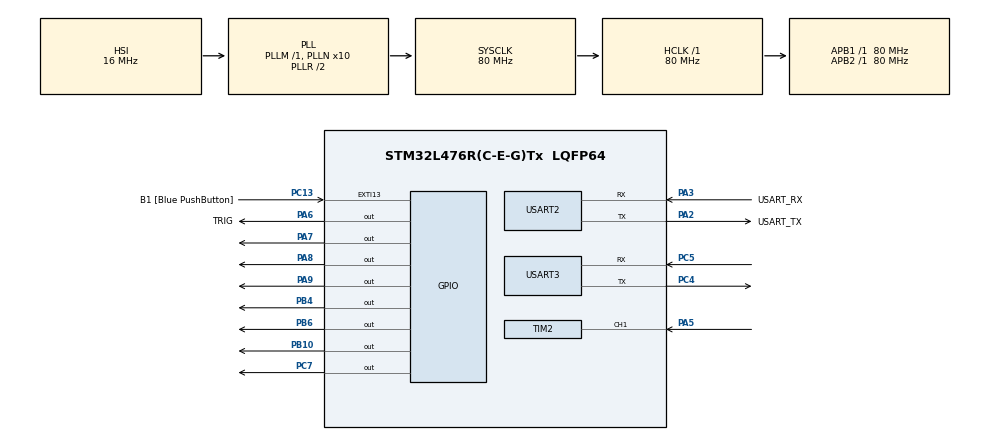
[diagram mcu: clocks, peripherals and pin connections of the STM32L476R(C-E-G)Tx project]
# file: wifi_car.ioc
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FREERTOS.Tasks01=defaultTask,0,128,StartDefaultTask,Default,NULL,Dynamic,NULL,NULL
Mcu.Family=STM32L4
Mcu.Name=STM32L476R(C-E-G)Tx
Mcu.Package=LQFP64
NVIC.PriorityGroup=NVIC_PRIORITYGROUP_4
NVIC.TIM2_IRQn=true\:5\:0\:false\:false\:true\:true\:true\:true\:true
NVIC.USART2_IRQn=true\:5\:0\:false\:false\:true\:true\:true\:true\:true
NVIC.USART3_IRQn=true\:5\:0\:false\:false\:true\:true\:true\:true\:true
PA13\ (JTMS-SWDIO).GPIO_Label=TMS
PA13\ (JTMS-SWDIO).Signal=SYS_JTMS-SWDIO
PA14\ (JTCK-SWCLK).GPIO_Label=TCK
PA14\ (JTCK-SWCLK).Signal=SYS_JTCK-SWCLK
PA2.GPIO_Label=USART_TX
PA2.GPIO_Mode=GPIO_MODE_AF_PP
PA2.GPIO_PuPd=GPIO_NOPULL
PA2.GPIO_Speed=GPIO_SPEED_FREQ_VERY_HIGH
PA2.Mode=Asynchronous
PA2.Signal=USART2_TX
PA3.GPIO_Label=USART_RX
PA3.GPIO_Mode=GPIO_MODE_AF_PP
PA3.GPIO_PuPd=GPIO_NOPULL
PA3.GPIO_Speed=GPIO_SPEED_FREQ_VERY_HIGH
PA3.Mode=Asynchronous
PA3.Signal=USART2_RX
PA5.Signal=S_TIM2_CH1
PA6.GPIO_Label=TRIG
PA6.Signal=GPIO_Output
PA7.Signal=GPIO_Output
PA8.Signal=GPIO_Output
PA9.Signal=GPIO_Output
PB10.Signal=GPIO_Output
PB3\ (JTDO-TRACESWO).GPIO_Label=SWO
PB3\ (JTDO-TRACESWO).Signal=SYS_JTDO-SWO
PB4\ (NJTRST).Signal=GPIO_Output
PB6.Signal=GPIO_Output
PC13.GPIO_Label=B1 [Blue PushButton]
PC13.GPIO_ModeDefaultEXTI=GPIO_MODE_IT_FALLING
PC13.GPIO_PuPd=GPIO_NOPULL
PC13.Signal=GPXTI13
PC14-OSC32_IN\ (PC14).Signal=RCC_OSC32_IN
PC15-OSC32_OUT\ (PC15).Signal=RCC_OSC32_OUT
PC4.Mode=Asynchronous
PC4.Signal=USART3_TX
PC5.Mode=Asynchronous
PC5.Signal=USART3_RX
PC7.Signal=GPIO_Output
PH0-OSC_IN\ (PH0).Signal=RCC_OSC_IN
PH1-OSC_OUT\ (PH1).Signal=RCC_OSC_OUT
ProjectManager.HeapSize=0x200
ProjectManager.StackSize=0x400
ProjectManager.TargetToolchain=STM32CubeIDE
RCC.ADCFreq_Value=64000000
RCC.AHBFreq_Value=80000000
RCC.APB1Freq_Value=80000000
RCC.APB1TimFreq_Value=80000000
RCC.APB2Freq_Value=80000000
RCC.APB2TimFreq_Value=80000000
RCC.CortexFreq_Value=80000000
RCC.HCLKFreq_Value=80000000
RCC.HSE_VALUE=8000000
RCC.HSI_VALUE=16000000
RCC.LSE_VALUE=32768
RCC.MSI_VALUE=4000000
RCC.PLLN=10
RCC.PLLSourceVirtual=RCC_PLLSOURCE_HSI
RCC.PREFETCH_ENABLE=1
RCC.SYSCLKFreq_VALUE=80000000
RCC.SYSCLKSource=RCC_SYSCLKSOURCE_PLLCLK
RCC.USBFreq_Value=64000000
RCC.VCOOutputFreq_Value=160000000
SH.S_TIM2_CH1.0=TIM2_CH1,Input_Capture1_from_TI1
TIM2.Channel-Input_Capture1_from_TI1=TIM_CHANNEL_1
TIM2.ICFilter_CH1=4
TIM2.ICPolarity_CH1=TIM_INPUTCHANNELPOLARITY_BOTHEDGE
TIM2.Period=1000000
TIM2.Prescaler=80-1
TIM4.Period=0
TIM4.Prescaler=80-1
USART2.VirtualMode-Asynchronous=VM_ASYNC
USART3.VirtualMode-Asynchronous=VM_ASYNC
VP_FREERTOS_VS_CMSIS_V1.Mode=CMSIS_V1
VP_TIM2_VS_ClockSourceINT.Mode=Internal
VP_TIM4_VS_ClockSourceINT.Mode=Internal
board=NUCLEO-L476RG

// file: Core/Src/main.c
/* USER CODE BEGIN Header */
/**
  **************************
  * @file           : main.c
  * @brief          : Main program body
  **************************
  * @attention
  *
  * Copyright (c) 2023 STMicroelectronics.
  * All rights reserved.
  *
  * This software is licensed under terms that can be found in the LICENSE file
  * in the root directory of this software component.
  * If no LICENSE file comes with this software, it is provided AS-IS.
  *
  **************************
  */
/* USER CODE END Header */
#include "main.h"
#include "cmsis_os.h"

/* USER CODE BEGIN PTD */
#define usTIM TIM4
#define TRIG_Port GPIOA

/* USER CODE END PTD */

TIM_HandleTypeDef htim2;
TIM_HandleTypeDef htim4;

UART_HandleTypeDef huart2;
UART_HandleTypeDef huart3;

osThreadId defaultTaskHandle;

void SystemClock_Config(void);
static void MX_GPIO_Init(void);
static void MX_TIM2_Init(void);
static void MX_TIM4_Init(void);
static void MX_USART2_UART_Init(void);
static void MX_USART3_UART_Init(void);
void StartDefaultTask(void const * argument);

/* USER CODE BEGIN PFP */

void usDelay(uint32_t uSec);

/* USER CODE END PFP */

/* USER CODE BEGIN 0 */

void carTask(void * args);
void cli(void * vParam);
struct Flags {
	char movement;
	int state;
};
char move;
float distance_node = 50;

uint8_t icFlag = 0;
uint8_t captureIdx = 0;
uint32_t edgeTime = 0, edge2Time = 0;

const float speedOfSound = 0.0343/2;
float distance;

char uartBuf[100];

void usDelay(uint32_t uSec)
{
	if(uSec < 2) uSec = 2;
	usTIM->ARR = uSec - 1; 	/*sets the value in the auto-reload register*/
	usTIM->EGR = 1; 			/*Re-initialises the timer*/
	usTIM->SR &= ~1; 		//Resets the flag
	usTIM->CR1 |= 1; 		//Enables the counter
	while((usTIM->SR&0x0001) != 1);
	usTIM->SR &= ~(0x0001);
}

void HAL_TIM_IC_CaptureCallback(TIM_HandleTypeDef *htim)
{

		if(captureIdx == 0) //First edge
		{
			edgeTime = HAL_TIM_ReadCapturedValue(htim, TIM_CHANNEL_1); //__HAL_TIM_GetCounter(&htim3);//

			captureIdx = 1;
		}
		else if(captureIdx == 1) //Second edge
		{
			edge2Time = HAL_TIM_ReadCapturedValue(htim, TIM_CHANNEL_1);
			captureIdx = 0;
			icFlag = 1;
		}
}
//char* int_to_string(int num) {
//    char str[25];
//    sprintf(str, "Distance = %d\n\r", num);
//    return str;
//}

float measureDistance(){
	HAL_GPIO_WritePin(TRIG_GPIO_Port, TRIG_Pin, GPIO_PIN_RESET);
	usDelay(3);

	//*** START Ultrasonic measure routine ***//
	//1. Output 10 usec TRIG
	HAL_GPIO_WritePin(TRIG_GPIO_Port, TRIG_Pin, GPIO_PIN_SET);
	usDelay(10);
	HAL_GPIO_WritePin(TRIG_GPIO_Port, TRIG_Pin, GPIO_PIN_RESET);

	//2. ECHO signal pulse width

	//Start IC timer
	HAL_TIM_IC_Start_IT(&htim2, TIM_CHANNEL_1);
	//Wait for IC flag
	uint32_t startTick = HAL_GetTick();
	do
	{
	if(icFlag) break;
	}while((HAL_GetTick() - startTick) < 500);  //500ms
	icFlag = 0;
	HAL_TIM_IC_Stop_IT(&htim2, TIM_CHANNEL_1);

	//Calculate distance in cm
	if(edge2Time > edgeTime)
	{
	distance = ((edge2Time - edgeTime) + 0.0f)*speedOfSound;
	}
	else
	{
	distance = 0.0f;
	}

	//Print to UART terminal for debugging

	return distance;

}

void sendChar(unsigned char c, int uart_number){
	unsigned char pChar = c;
	if(uart_number == 1)
		HAL_UART_Transmit(&huart3, &pChar,1 ,HAL_MAX_DELAY );
	else if(uart_number == 2)
		HAL_UART_Transmit(&huart2, &pChar, 1,HAL_MAX_DELAY );
}

void sendString(char * str, int uart_number){
	if(uart_number == 1)
		HAL_UART_Transmit(&huart3, (uint8_t *)str, strlen(str) ,HAL_MAX_DELAY );
	else if(uart_number == 2)
		HAL_UART_Transmit(&huart2, (uint8_t *)str, strlen(str) ,HAL_MAX_DELAY );
}

char readChar(int uart_number){
	unsigned char caracter;

	if(uart_number == 1){
		while(HAL_UART_Receive(&huart3, &caracter, 1, HAL_MAX_DELAY) != HAL_OK);
	}
	else if(uart_number == 2){
		while(HAL_UART_Receive(&huart2, &caracter, 1, HAL_MAX_DELAY) != HAL_OK);
	}
	return caracter;
}

void recebe_da_node_mcu(void *vParam){
	unsigned char caracter;
	while(1){
		//Aguarda receber um caracter da UART1 que esta conectada ao Node MCU
		caracter = readChar(1);
		//Envia o caracter recebido para a UART 2 que está conectada ao terminal serial
		move = caracter;

		sendChar(caracter, 2);
		vTaskDelay(1);
	}
}

//void envia_para_node_mcu( void *vParam){
//
//	while(1){
//		//Aguarda receber um caracter da UART1 que esta conectada ao Node MCU
//		distance_node = measureDistance();
//		//Envia o caracter recebido para a UART 2 que está conectada ao terminal serial
//
//		char str[25];
//		sprintf(str, "%.2f", distance_node);
//		sendString(str, 1);
//
//		vTaskDelay(100);
//	}
//}

/* USER CODE END 0 */

int main(void)
{
  /* USER CODE BEGIN 1 */

	struct Flags flags;
	flags.movement = 's';
	flags.state = 1;

  /* USER CODE END 1 */

  /* MCU Configuration--------------------------------------------------------*/

  /* Reset of all peripherals, Initializes the Flash interface and the Systick. */
  HAL_Init();

  /* Configure the system clock */
  SystemClock_Config();

  /* Initialize all configured peripherals */
  MX_GPIO_Init();
  MX_TIM2_Init();
  MX_TIM4_Init();
  MX_USART2_UART_Init();
  MX_USART3_UART_Init();
  /* USER CODE BEGIN 2 */

  HAL_TIM_IC_Start_IT(&htim2, TIM_CHANNEL_1);

  /* USER CODE END 2 */

  /* Create the thread(s) */
  /* definition and creation of defaultTask */
  osThreadDef(defaultTask, StartDefaultTask, osPriorityNormal, 0, 128);
  defaultTaskHandle = osThreadCreate(osThread(defaultTask), NULL);

  /* USER CODE BEGIN RTOS_THREADS */
  /* add threads, ... */
  xTaskCreate(
  		  cli,
  		  "cli",
  		  configMINIMAL_STACK_SIZE,
  		  &flags,
  		  1,
  		  NULL);
  xTaskCreate(
		 recebe_da_node_mcu,
		 "recebe_da_node_mcu",
		 configMINIMAL_STACK_SIZE,
		 NULL,
		 1,
		 NULL);

//  xTaskCreate(
//		envia_para_node_mcu,
//		"envia_para_node_mcu",
//		configMINIMAL_STACK_SIZE,
//		NULL,
//		1,
//		NULL);

  /* USER CODE END RTOS_THREADS */

  /* Start scheduler */
  osKernelStart();
  /* We should never get here as control is now taken by the scheduler */
  /* Infinite loop */
  while (1)
  {

  }
}

void SystemClock_Config(void)
{
  RCC_OscInitTypeDef RCC_OscInitStruct = {0};
  RCC_ClkInitTypeDef RCC_ClkInitStruct = {0};

  /** Configure the main internal regulator output voltage
  */
  if (HAL_PWREx_ControlVoltageScaling(PWR_REGULATOR_VOLTAGE_SCALE1) != HAL_OK)
  {
    Error_Handler();
  }

  /** Initializes the RCC Oscillators according to the specified parameters
  * in the RCC_OscInitTypeDef structure.
  */
  RCC_OscInitStruct.OscillatorType = RCC_OSCILLATORTYPE_HSI;
  RCC_OscInitStruct.HSIState = RCC_HSI_ON;
  RCC_OscInitStruct.HSICalibrationValue = RCC_HSICALIBRATION_DEFAULT;
  RCC_OscInitStruct.PLL.PLLState = RCC_PLL_ON;
  RCC_OscInitStruct.PLL.PLLSource = RCC_PLLSOURCE_HSI;
  RCC_OscInitStruct.PLL.PLLM = 1;
  RCC_OscInitStruct.PLL.PLLN = 10;
  RCC_OscInitStruct.PLL.PLLP = RCC_PLLP_DIV7;
  RCC_OscInitStruct.PLL.PLLQ = RCC_PLLQ_DIV2;
  RCC_OscInitStruct.PLL.PLLR = RCC_PLLR_DIV2;
  if (HAL_RCC_OscConfig(&RCC_OscInitStruct) != HAL_OK)
  {
    Error_Handler();
  }

  /** Initializes the CPU, AHB and APB buses clocks
  */
  RCC_ClkInitStruct.ClockType = RCC_CLOCKTYPE_HCLK|RCC_CLOCKTYPE_SYSCLK
                              |RCC_CLOCKTYPE_PCLK1|RCC_CLOCKTYPE_PCLK2;
  RCC_ClkInitStruct.SYSCLKSource = RCC_SYSCLKSOURCE_PLLCLK;
  RCC_ClkInitStruct.AHBCLKDivider = RCC_SYSCLK_DIV1;
  RCC_ClkInitStruct.APB1CLKDivider = RCC_HCLK_DIV1;
  RCC_ClkInitStruct.APB2CLKDivider = RCC_HCLK_DIV1;

  if (HAL_RCC_ClockConfig(&RCC_ClkInitStruct, FLASH_LATENCY_4) != HAL_OK)
  {
    Error_Handler();
  }
}

static void MX_TIM2_Init(void)
{

  TIM_ClockConfigTypeDef sClockSourceConfig = {0};
  TIM_MasterConfigTypeDef sMasterConfig = {0};
  TIM_IC_InitTypeDef sConfigIC = {0};

  htim2.Instance = TIM2;
  htim2.Init.Prescaler = 80-1;
  htim2.Init.CounterMode = TIM_COUNTERMODE_UP;
  htim2.Init.Period = 1000000-1;
  htim2.Init.ClockDivision = TIM_CLOCKDIVISION_DIV1;
  htim2.Init.AutoReloadPreload = TIM_AUTORELOAD_PRELOAD_DISABLE;
  if (HAL_TIM_Base_Init(&htim2) != HAL_OK)
  {
    Error_Handler();
  }
  sClockSourceConfig.ClockSource = TIM_CLOCKSOURCE_INTERNAL;
  if (HAL_TIM_ConfigClockSource(&htim2, &sClockSourceConfig) != HAL_OK)
  {
    Error_Handler();
  }
  if (HAL_TIM_IC_Init(&htim2) != HAL_OK)
  {
    Error_Handler();
  }
  sMasterConfig.MasterOutputTrigger = TIM_TRGO_RESET;
  sMasterConfig.MasterSlaveMode = TIM_MASTERSLAVEMODE_DISABLE;
  if (HAL_TIMEx_MasterConfigSynchronization(&htim2, &sMasterConfig) != HAL_OK)
  {
    Error_Handler();
  }
  sConfigIC.ICPolarity = TIM_INPUTCHANNELPOLARITY_BOTHEDGE;
  sConfigIC.ICSelection = TIM_ICSELECTION_DIRECTTI;
  sConfigIC.ICPrescaler = TIM_ICPSC_DIV1;
  sConfigIC.ICFilter = 4;
  if (HAL_TIM_IC_ConfigChannel(&htim2, &sConfigIC, TIM_CHANNEL_1) != HAL_OK)
  {
    Error_Handler();
  }

}

static void MX_TIM4_Init(void)
{

  TIM_ClockConfigTypeDef sClockSourceConfig = {0};
  TIM_MasterConfigTypeDef sMasterConfig = {0};

  htim4.Instance = TIM4;
  htim4.Init.Prescaler = 80-1;
  htim4.Init.CounterMode = TIM_COUNTERMODE_UP;
  htim4.Init.Period = 1000000;
  htim4.Init.ClockDivision = TIM_CLOCKDIVISION_DIV1;
  htim4.Init.AutoReloadPreload = TIM_AUTORELOAD_PRELOAD_DISABLE;
  if (HAL_TIM_Base_Init(&htim4) != HAL_OK)
  {
    Error_Handler();
  }
  sClockSourceConfig.ClockSource = TIM_CLOCKSOURCE_INTERNAL;
  if (HAL_TIM_ConfigClockSource(&htim4, &sClockSourceConfig) != HAL_OK)
  {
    Error_Handler();
  }
  sMasterConfig.MasterOutputTrigger = TIM_TRGO_RESET;
  sMasterConfig.MasterSlaveMode = TIM_MASTERSLAVEMODE_DISABLE;
  if (HAL_TIMEx_MasterConfigSynchronization(&htim4, &sMasterConfig) != HAL_OK)
  {
    Error_Handler();
  }

}

static void MX_USART2_UART_Init(void)
{

  huart2.Instance = USART2;
  huart2.Init.BaudRate = 115200;
  huart2.Init.WordLength = UART_WORDLENGTH_8B;
  huart2.Init.StopBits = UART_STOPBITS_1;
  huart2.Init.Parity = UART_PARITY_NONE;
  huart2.Init.Mode = UART_MODE_TX_RX;
  huart2.Init.HwFlowCtl = UART_HWCONTROL_NONE;
  huart2.Init.OverSampling = UART_OVERSAMPLING_16;
  huart2.Init.OneBitSampling = UART_ONE_BIT_SAMPLE_DISABLE;
  huart2.AdvancedInit.AdvFeatureInit = UART_ADVFEATURE_NO_INIT;
  if (HAL_UART_Init(&huart2) != HAL_OK)
  {
    Error_Handler();
  }

}

static void MX_USART3_UART_Init(void)
{

  huart3.Instance = USART3;
  huart3.Init.BaudRate = 115200;
  huart3.Init.WordLength = UART_WORDLENGTH_8B;
  huart3.Init.StopBits = UART_STOPBITS_1;
  huart3.Init.Parity = UART_PARITY_NONE;
  huart3.Init.Mode = UART_MODE_TX_RX;
  huart3.Init.HwFlowCtl = UART_HWCONTROL_NONE;
  huart3.Init.OverSampling = UART_OVERSAMPLING_16;
  huart3.Init.OneBitSampling = UART_ONE_BIT_SAMPLE_DISABLE;
  huart3.AdvancedInit.AdvFeatureInit = UART_ADVFEATURE_NO_INIT;
  if (HAL_UART_Init(&huart3) != HAL_OK)
  {
    Error_Handler();
  }

}

static void MX_GPIO_Init(void)
{
  GPIO_InitTypeDef GPIO_InitStruct = {0};

  /* GPIO Ports Clock Enable */
  __HAL_RCC_GPIOC_CLK_ENABLE();
  __HAL_RCC_GPIOH_CLK_ENABLE();
  __HAL_RCC_GPIOA_CLK_ENABLE();
  __HAL_RCC_GPIOB_CLK_ENABLE();

  /*Configure GPIO pin Output Level */
  HAL_GPIO_WritePin(GPIOA, TRIG_Pin|GPIO_PIN_7|GPIO_PIN_8|GPIO_PIN_9, GPIO_PIN_RESET);

  /*Configure GPIO pin Output Level */
  HAL_GPIO_WritePin(GPIOB, GPIO_PIN_10|GPIO_PIN_4|GPIO_PIN_6, GPIO_PIN_RESET);

  /*Configure GPIO pin Output Level */
  HAL_GPIO_WritePin(GPIOC, GPIO_PIN_7, GPIO_PIN_RESET);

  /*Configure GPIO pin : B1_Pin */
  GPIO_InitStruct.Pin = B1_Pin;
  GPIO_InitStruct.Mode = GPIO_MODE_IT_FALLING;
  GPIO_InitStruct.Pull = GPIO_NOPULL;
  HAL_GPIO_Init(B1_GPIO_Port, &GPIO_InitStruct);

  /*Configure GPIO pins : TRIG_Pin PA7 PA8 PA9 */
  GPIO_InitStruct.Pin = TRIG_Pin|GPIO_PIN_7|GPIO_PIN_8|GPIO_PIN_9;
  GPIO_InitStruct.Mode = GPIO_MODE_OUTPUT_PP;
  GPIO_InitStruct.Pull = GPIO_NOPULL;
  GPIO_InitStruct.Speed = GPIO_SPEED_FREQ_LOW;
  HAL_GPIO_Init(GPIOA, &GPIO_InitStruct);

  /*Configure GPIO pins : PB10 PB4 PB6 */
  GPIO_InitStruct.Pin = GPIO_PIN_10|GPIO_PIN_4|GPIO_PIN_6;
  GPIO_InitStruct.Mode = GPIO_MODE_OUTPUT_PP;
  GPIO_InitStruct.Pull = GPIO_NOPULL;
  GPIO_InitStruct.Speed = GPIO_SPEED_FREQ_LOW;
  HAL_GPIO_Init(GPIOB, &GPIO_InitStruct);

  /*Configure GPIO pin : PC7 */
  GPIO_InitStruct.Pin = GPIO_PIN_7;
  GPIO_InitStruct.Mode = GPIO_MODE_OUTPUT_PP;
  GPIO_InitStruct.Pull = GPIO_NOPULL;
  GPIO_InitStruct.Speed = GPIO_SPEED_FREQ_LOW;
  HAL_GPIO_Init(GPIOC, &GPIO_InitStruct);

}

/* USER CODE BEGIN 4 */

void ledB(){
	HAL_GPIO_WritePin(GPIOB, GPIO_PIN_10, 1);
	HAL_GPIO_WritePin(GPIOA, GPIO_PIN_8, 0);
}

void ledP(){
	HAL_GPIO_WritePin(GPIOB, GPIO_PIN_10, 1);
	HAL_GPIO_WritePin(GPIOA, GPIO_PIN_8, 1);
}

void buzzR(){
	HAL_GPIO_WritePin(GPIOA, GPIO_PIN_8, 1);
	HAL_GPIO_WritePin(GPIOB, GPIO_PIN_10, 0);
	HAL_GPIO_WritePin(GPIOB, GPIO_PIN_4, 1);
	HAL_Delay(500);
	HAL_GPIO_WritePin(GPIOA, GPIO_PIN_8, 0);
	HAL_GPIO_WritePin(GPIOB, GPIO_PIN_10, 1);
	HAL_GPIO_WritePin(GPIOB, GPIO_PIN_4, 0);
	HAL_Delay(100);
	HAL_GPIO_WritePin(GPIOA, GPIO_PIN_8, 1);
	HAL_GPIO_WritePin(GPIOB, GPIO_PIN_10, 0);
	HAL_GPIO_WritePin(GPIOB, GPIO_PIN_4, 1);
	HAL_Delay(500);
	HAL_GPIO_WritePin(GPIOA, GPIO_PIN_8, 0);
	HAL_GPIO_WritePin(GPIOB, GPIO_PIN_10, 1);
	HAL_GPIO_WritePin(GPIOB, GPIO_PIN_4, 0);
	HAL_Delay(100);
}

void moveFr(){
	HAL_GPIO_WritePin(GPIOA, GPIO_PIN_7, 1);
	HAL_GPIO_WritePin(GPIOB, GPIO_PIN_6, 0);

	HAL_GPIO_WritePin(GPIOC, GPIO_PIN_7, 1);
	HAL_GPIO_WritePin(GPIOA, GPIO_PIN_9, 0);
}

void moveLe(){
	HAL_GPIO_WritePin(GPIOA, GPIO_PIN_7, 1);
	HAL_GPIO_WritePin(GPIOB, GPIO_PIN_6, 0);

	HAL_GPIO_WritePin(GPIOC, GPIO_PIN_7, 0);
	HAL_GPIO_WritePin(GPIOA, GPIO_PIN_9, 1);

	HAL_Delay(700);

	HAL_GPIO_WritePin(GPIOA, GPIO_PIN_7, 0);
	HAL_GPIO_WritePin(GPIOB, GPIO_PIN_6, 0);

	HAL_GPIO_WritePin(GPIOC, GPIO_PIN_7, 0);
	HAL_GPIO_WritePin(GPIOA, GPIO_PIN_9, 0);

}

void moveRi(){
	HAL_GPIO_WritePin(GPIOA, GPIO_PIN_7, 0);
	HAL_GPIO_WritePin(GPIOB, GPIO_PIN_6, 1);

	HAL_GPIO_WritePin(GPIOC, GPIO_PIN_7, 1);
	HAL_GPIO_WritePin(GPIOA, GPIO_PIN_9, 0);

	HAL_Delay(700);

	HAL_GPIO_WritePin(GPIOA, GPIO_PIN_7, 0);
	HAL_GPIO_WritePin(GPIOB, GPIO_PIN_6, 0);

	HAL_GPIO_WritePin(GPIOC, GPIO_PIN_7, 0);
	HAL_GPIO_WritePin(GPIOA, GPIO_PIN_9, 0);
}

void moveBa(){
	HAL_GPIO_WritePin(GPIOA, GPIO_PIN_7, 0);
	HAL_GPIO_WritePin(GPIOB, GPIO_PIN_6, 1);

	HAL_GPIO_WritePin(GPIOC, GPIO_PIN_7, 0);
	HAL_GPIO_WritePin(GPIOA, GPIO_PIN_9, 1);

	HAL_Delay(700);

	HAL_GPIO_WritePin(GPIOA, GPIO_PIN_7, 0);
	HAL_GPIO_WritePin(GPIOB, GPIO_PIN_6, 0);

	HAL_GPIO_WritePin(GPIOC, GPIO_PIN_7, 0);
	HAL_GPIO_WritePin(GPIOA, GPIO_PIN_9, 0);
}

void moveStop(){
	HAL_GPIO_WritePin(GPIOA, GPIO_PIN_7, 0);
	HAL_GPIO_WritePin(GPIOB, GPIO_PIN_6, 0);

	HAL_GPIO_WritePin(GPIOC, GPIO_PIN_7, 0);
	HAL_GPIO_WritePin(GPIOA, GPIO_PIN_9, 0);

}

//int16_t readVoltage(void){

	//HAL_ADC_Start(&hadc1);

	//HAL_ADC_PollForConversion(&hadc1, HAL_MAX_DELAY);

    //return HAL_ADC_GetValue(&hadc1);
//}

void cli(void * vParam)
{

	HAL_GPIO_WritePin(GPIOB, GPIO_PIN_10, 1);

	for (int i = 0; i < 4; ++i) {
		HAL_GPIO_WritePin(GPIOB, GPIO_PIN_4, 1);
		HAL_Delay(100);
		HAL_GPIO_WritePin(GPIOB, GPIO_PIN_4, 0);
		HAL_Delay(70);
	}
	float dist;
	int sf = 0;
	char pmove = "X";

	while(1)

	{

		vTaskDelay(5);

		if (pmove == move && move != 'W'){
			continue;
		}

		pmove = move;

		dist = measureDistance();

		if(move == 'S') {
			ledB();
			moveBa();
			sf = 0;
		}

		if(move == 'H'){
			buzzR();
			if (!sf){
				int dchar = dist;

				sendChar(dchar , 1);
				sf = 1;
			}
		}
		else if(move == 'A') {
			ledB();
			moveLe();
			sf = 0;
		}
		else if(move == 'D') {
			ledB();
			moveRi();
			sf = 0;
		}
		else if(move == 'X'){
			ledP();
			moveStop();
			sf = 0;
		}

		else if (dist < 25) {
			moveStop();
			buzzR();

			if (!sf){
				int dchar = dist;

				sendChar(dchar , 1);
				sf = 1;
			}

			continue;
		}

		if(move == 'W') {
			ledB();
			moveFr();
			sf = 0;
		}

	}

}

/* USER CODE END 4 */

void StartDefaultTask(void const * argument)
{
  for(;;)
  {
	osDelay(1);
  }
}

void Error_Handler(void)
{
  __disable_irq();
  while (1)
  {
  }
}
